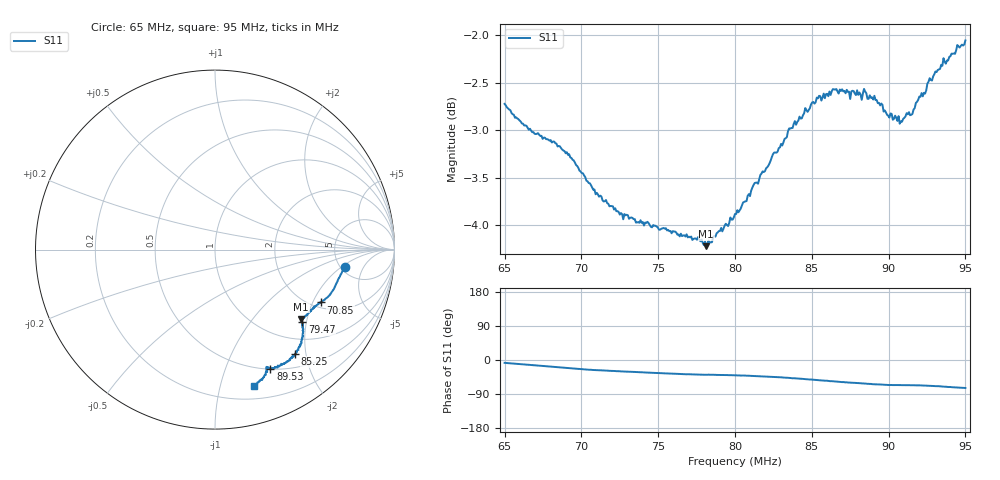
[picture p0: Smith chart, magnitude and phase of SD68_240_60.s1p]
! NanoVNA-App
! Date: 2025-08-09 13:43:36
! Start: 65MHz Stop: 95MHz Points: 401
! S-Parameter data: F S11
# Hz S RI R 50
!  Frequency  S11_Real  S11_Imag
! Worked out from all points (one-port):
!   401 points, 65 MHz to 95 MHz, reference 50 ohm
!   lowest |S11| = -4.2 dB at 78.12 MHz (marker M1), VSWR 4.20, Z = 74 - j91.9 ohm
!   |S11| at or under -10 dB: nowhere
!   S11 on the Smith chart (normalised r, x): 65 MHz: 5.48, -2.26; 70.85 MHz: 2.22, -2.31; 79.47 MHz: 1.41, -1.89; 85.25 MHz: 0.72, -1.80; 89.53 MHz: 0.51, -1.45; 95 MHz: 0.32, -1.28
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6.5e7  0.7247 -0.096
6.6875e7  0.6866 -0.1662
6.875e7  0.6498 -0.237
6.95e7  0.6298 -0.2634
7.085e7  0.5897 -0.2942
7.25e7  0.5557 -0.3162
7.625e7  0.5016 -0.3711
7.745e7  0.4872 -0.3851
7.8125e7  0.4793 -0.3859
7.9475e7  0.4857 -0.4034
8e7  0.4872 -0.4146
8.1275e7  0.4916 -0.4465
8.2025e7  0.4901 -0.4659
8.2625e7  0.4891 -0.4856
8.375e7  0.4726 -0.5299
8.525e7  0.4452 -0.5816
8.645e7  0.4125 -0.6191
8.75e7  0.3686 -0.6362
8.8475e7  0.3455 -0.6566
8.9525e7  0.3088 -0.663
9.02e7  0.2947 -0.6593
9.0725e7  0.2876 -0.6532
9.125e7  0.2921 -0.6601
9.155e7  0.2866 -0.6628
9.215e7  0.2909 -0.6811
9.32e7  0.2702 -0.712
9.455e7  0.2351 -0.7476
9.5e7  0.2193 -0.7583
